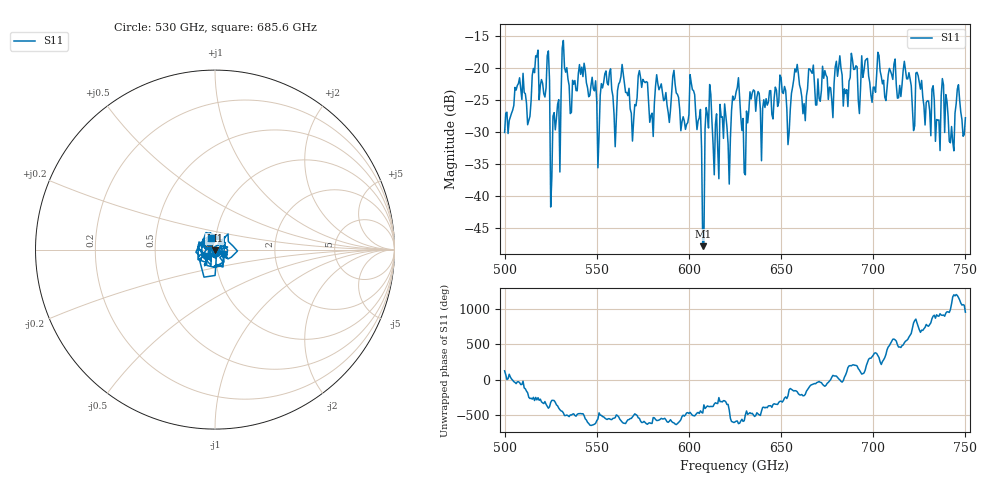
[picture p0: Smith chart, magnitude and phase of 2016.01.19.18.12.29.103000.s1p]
!Created with skrf (http://scikit-rf.org).
# GHz S RI R 50.0
!freq ReS11 ImS11
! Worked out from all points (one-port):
!   401 points, 500 GHz to 750 GHz, reference 50 ohm
!   lowest |S11| = -47.8 dB at 607.5 GHz (marker M1), VSWR 1.01, Z = 49.8 - j0.371 ohm
!   |S11| at or under -10 dB: start of sweep to end of sweep
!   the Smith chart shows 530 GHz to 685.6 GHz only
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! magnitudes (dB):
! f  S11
! 500 GHz  -30.0
! 506.9 GHz  -22.7
! 513.1 GHz  -28.1
! 516.9 GHz  -18.0
! 523.1 GHz  -18.0
! 526.2 GHz  -27.5
! 531.2 GHz  -16.8
! 541.9 GHz  -19.8
! 551.2 GHz  -30.3
! 562.5 GHz  -22.1
! 569.4 GHz  -31.4
! 573.8 GHz  -21.4
! 579.4 GHz  -27.4
! 593.8 GHz  -24.1
! 598.8 GHz  -28.7
! 601.9 GHz  -23.3
! 607.5 GHz  -47.8
! 610.6 GHz  -29.3
! 615 GHz  -27.1
! 621.9 GHz  -38.1
! 625 GHz  -24.7
! 629.4 GHz  -27.8
! 634.4 GHz  -23.8
! 654.4 GHz  -30.0
! 656.2 GHz  -22.9
! 687.5 GHz  -21.4
! 718.8 GHz  -21.6
! 750 GHz  -27.7
